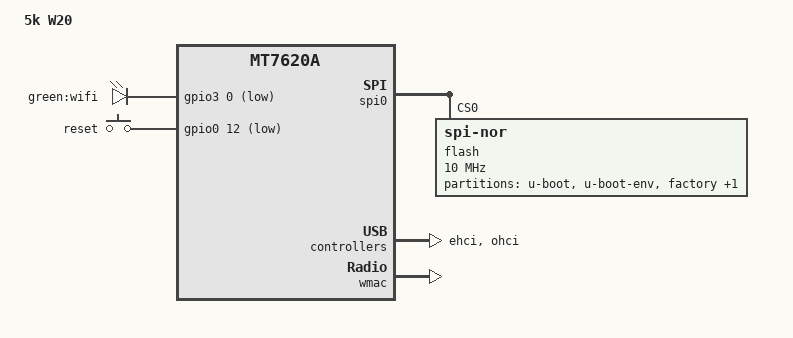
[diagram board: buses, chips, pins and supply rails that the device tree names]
#include "mt7620a.dtsi"

#include <dt-bindings/gpio/gpio.h>
#include <dt-bindings/input/input.h>

/ {
	compatible = "5k,w20", "ralink,mt7620a-soc";
	model = "5k W20";
	
	chosen {
		bootargs = "console=ttyS0,115200";
	};
	
	leds {
		compatible = "gpio-leds";

		wlan {
			label = "green:wifi";
			gpios = <&gpio3 0 GPIO_ACTIVE_LOW>;
		};
	};
	
	gpio-keys-polled {
		compatible = "gpio-keys-polled";
		#address-cells = <1>;
		#size-cells = <0>;
		poll-interval = <20>;
		reset {
			label = "reset";
			gpios = <&gpio0 12 1>;
			linux,code = <0x198>;
		};
	};
};
	
&gpio3 {
	status = "okay";
};

&spi0 {
	status = "okay";

	flash@0 {
		compatible = "jedec,spi-nor";
		reg = <0>;
		spi-max-frequency = <10000000>;

		partitions {
			compatible = "fixed-partitions";
			#address-cells = <1>;
			#size-cells = <1>;

			partition@0 {
				label = "u-boot";
				reg = <0x0 0x30000>;
				read-only;
			};

			partition@30000 {
				label = "u-boot-env";
				reg = <0x30000 0x10000>;
				read-only;
			};

			factory: partition@40000 {
				label = "factory";
				reg = <0x40000 0x10000>;
				read-only;
			};

			partition@50000 {
				compatible = "denx,uimage";
				label = "firmware";
				reg = <0x50000 0xfb0000>;
			};
		};
	};
};

&ethernet {
	mtd-mac-address = <&factory 0x4>;
	ralink,port-map = "wllll";
};

&ehci {
	status = "okay";
};

&ohci {
	status = "okay";
};

&wmac {
	ralink,mtd-eeprom = <&factory 0x0>;
};

&state_default {
	gpio {
		groups = "i2c", "uartf", "wled";
		function = "gpio";
	};
};
